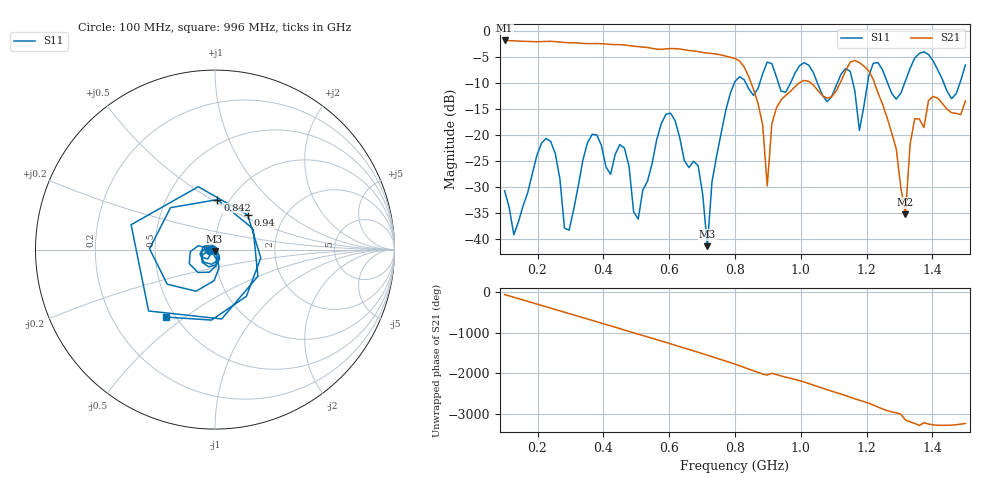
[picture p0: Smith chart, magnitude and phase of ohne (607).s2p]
! NanoVNA-App
! Date: 2025-09-25 14:25:31
! Start: 100MHz Stop: 1,5GHz Points: 101
! S-Parameter data: F S11 S21 S12 S22
# Hz S RI R 50
!  Frequency  S11_Real  S11_Imag  S21_Real  S21_Imag  S12_Real  S12_Imag  S22_Real  S22_Imag
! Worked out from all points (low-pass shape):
!   101 points, 100 MHz to 1.5 GHz, reference 50 ohm
!   highest |S21| = -1.79 dB at 100 MHz (marker M1); lowest = -35.2 dB at 1.318 GHz (marker M2)
!   |S21| within 3 dB of the highest: start of sweep to 771.5 MHz
!   lowest |S11| = -41.3 dB at 716 MHz (marker M3), VSWR 1.02, Z = 49.8 - j0.833 ohm
!   |S11| at or under -10 dB: start of sweep to 797.9 MHz; 833.2 MHz to 875.1 MHz (41.87 MHz wide, 4.9 % of centre); 1.051 GHz to 1.111 GHz (60.13 MHz wide, 5.56 % of centre) (the widest 3 of 7)
!   S12 and S22 are empty: the file has one direction only
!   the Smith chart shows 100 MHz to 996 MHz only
!   S11 on the Smith chart (normalised r, x): 100 MHz: 0.94, -0.01; 842 MHz: 0.88, +0.53; 940 MHz: 1.32, +0.55; 996 MHz: 0.44, -0.43
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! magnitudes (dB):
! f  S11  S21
! 100 MHz  -30.6  -1.8
! 128 MHz  -39.1  -1.9
! 226 MHz  -20.6  -2.0
! 296 MHz  -38.2  -2.2
! 338 MHz  -24.7  -2.4
! 464 MHz  -22.5  -2.7
! 506 MHz  -36.1  -3.0
! 576 MHz  -17.8  -3.5
! 688 MHz  -25.8  -3.9
! 716 MHz  -41.3  -4.2
! 800 MHz  -9.7  -5.3
! 842 MHz  -11.1  -8.8
! 898 MHz  -6.0  -29.7
! 940 MHz  -11.5  -13.2
! 996 MHz  -6.6  -9.9
! 1.038 GHz  -7.9  -10.3
! 1.178 GHz  -19.1  -6.0
! 1.22 GHz  -6.2  -9.3
! 1.276 GHz  -11.9  -19.6
! 1.318 GHz  -9.5  -35.2
! 1.346 GHz  -5.2  -16.8
! 1.5 GHz  -6.5  -13.4
